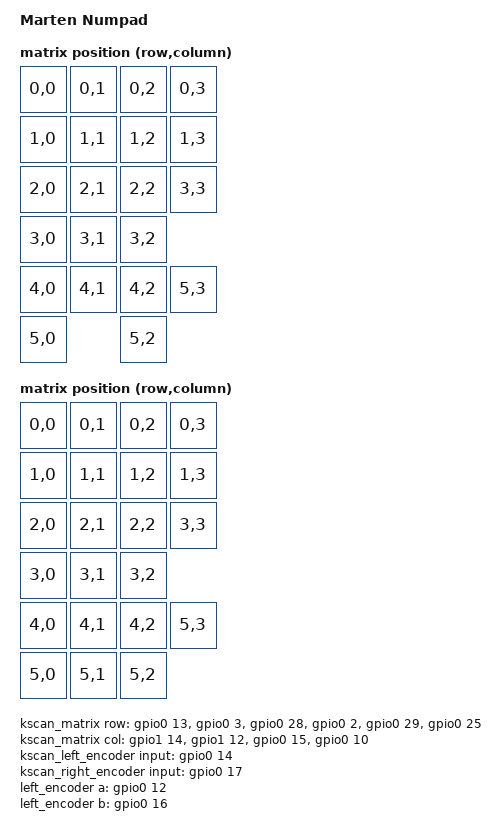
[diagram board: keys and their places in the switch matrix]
/dts-v1/;

#include <nordic/nrf52840_qiaa.dtsi>
#include <common/nordic/nrf52840_uf2_boot_mode.dtsi>
#include <layouts/common/numpad/21_key.dtsi>
#include <layouts/common/numpad/22_key_00.dtsi>
#include <dt-bindings/zmk/hid_indicators.h>
#include <dt-bindings/zmk/matrix_transform.h>

#include "marten_numpad-pinctrl.dtsi"

&layout_numpad_21_key {
    kscan = <&kscan>;
    transform = <&transform_numpad_21>;
};

&layout_numpad_22_key_00 {
    kscan = <&kscan>;
    transform = <&transform_numpad_22>;
};

/ {
    model = "Marten Numpad";
    compatible = "marten_numpad";

    chosen {
        zephyr,code-partition = &code_partition;
        zephyr,sram = &sram0;
        zephyr,flash = &flash0;
        zmk,battery = &npm1300_fuel_gauge;
        // zmk,battery = &vbatt;
        zmk,charger = &npm1300_charger_wrapper;
        zmk,physical-layout = &layout_numpad_21_key;
    };

    leds {
        compatible = "gpio-leds";

        numlock_led: numlock_led {
            gpios = <&gpio0 31 GPIO_ACTIVE_HIGH>;
        };
    };

    pwm_leds {
        compatible = "pwm-leds";

        status_led: status_led {
            pwms = <&pwm0 0 PWM_USEC(20) PWM_POLARITY_NORMAL>;
        };

        // Numlock LED can be switched to PWM with the following, but that results
        // in ~400 uA extra power drain, even when just using 100% brightness.
        // numlock_led: numlock_led {
        //     pwms = <&pwm0 1 PWM_MSEC(20) PWM_POLARITY_NORMAL>;
        // };
        // Also need to add "NRF_PSEL(PWM_OUT1, 0, 31)" to &pwm0_default and &pwm0_sleep.
    };

    indicators {
        compatible = "zmk,indicator-leds";

        numlock_indicator: numlock {
            leds = <&numlock_led>;
            indicator = <HID_INDICATOR_NUM_LOCK>;

            // Num lock will mostly be on, so to save battery life, only light
            // the LED when it is *off*.
            active-brightness = <0>;
            inactive-brightness = <100>;
        };
    };

    kscan: kscan {
        compatible = "zmk,kscan-composite";
        rows = <6>;
        columns = <4>;

        matrix {
            kscan = <&kscan_matrix>;
        };

        left_encoder {
            kscan = <&kscan_left_encoder>;
            // Overlay onto the top-left matrix position
            row-offset = <0>;
            col-offset = <0>;
        };

        right_encoder {
            kscan = <&kscan_right_encoder>;
            // Overlay onto the top-right matrix position
            row-offset = <0>;
            col-offset = <4>;
        };
    };

    kscan_matrix: kscan_matrix {
        compatible = "zmk,kscan-gpio-matrix";
        diode-direction = "col2row";
        wakeup-source;

        col-gpios
        = <&gpio1 14 GPIO_ACTIVE_HIGH>
        , <&gpio1 12 GPIO_ACTIVE_HIGH>
        , <&gpio0 15 GPIO_ACTIVE_HIGH>
        , <&gpio0 10 GPIO_ACTIVE_HIGH>
        ;

        row-gpios
        = <&gpio0 13 (GPIO_ACTIVE_HIGH | GPIO_PULL_DOWN)>
        , <&gpio0 3 (GPIO_ACTIVE_HIGH | GPIO_PULL_DOWN)>
        , <&gpio0 28 (GPIO_ACTIVE_HIGH | GPIO_PULL_DOWN)>
        , <&gpio0 2 (GPIO_ACTIVE_HIGH | GPIO_PULL_DOWN)>
        , <&gpio0 29 (GPIO_ACTIVE_HIGH | GPIO_PULL_DOWN)>
        , <&gpio0 25 (GPIO_ACTIVE_HIGH | GPIO_PULL_DOWN)>
        ;
    };

    kscan_left_encoder: kscan_left_encoder {
        compatible = "zmk,kscan-gpio-direct";
        wakeup-source;

        input-gpios = <&gpio0 14 (GPIO_ACTIVE_LOW | GPIO_PULL_UP)>;
    };

    kscan_right_encoder: kscan_right_encoder {
        compatible = "zmk,kscan-gpio-direct";
        wakeup-source;

        input-gpios = <&gpio0 17 (GPIO_ACTIVE_LOW | GPIO_PULL_UP)>;
    };

    transform_numpad_21: transform_numpad_21 {
        compatible = "zmk,matrix-transform";
        columns = <4>;
        rows = <6>;
        map = <
        RC(0,0) RC(0,1) RC(0,2) RC(0,3)
        RC(1,0) RC(1,1) RC(1,2) RC(1,3)
        RC(2,0) RC(2,1) RC(2,2) RC(3,3)
        RC(3,0) RC(3,1) RC(3,2)
        RC(4,0) RC(4,1) RC(4,2) RC(5,3)
        RC(5,0)         RC(5,2)
        >;
    };

    transform_numpad_22: transform_numpad_22 {
        compatible = "zmk,matrix-transform";
        columns = <4>;
        rows = <6>;
        map = <
        RC(0,0) RC(0,1) RC(0,2) RC(0,3)
        RC(1,0) RC(1,1) RC(1,2) RC(1,3)
        RC(2,0) RC(2,1) RC(2,2) RC(3,3)
        RC(3,0) RC(3,1) RC(3,2)
        RC(4,0) RC(4,1) RC(4,2) RC(5,3)
        RC(5,0) RC(5,1) RC(5,2)
        >;
    };

    // TODO: use the NRF QDEC driver for one of these? If so, which one?
    left_encoder: left_encoder {
        compatible = "alps,ec11";
        status = "disabled";
        a-gpios = <&gpio0 12 (GPIO_ACTIVE_HIGH | GPIO_PULL_UP)>;
        b-gpios = <&gpio0 16 (GPIO_ACTIVE_HIGH | GPIO_PULL_UP)>;
        steps = <60>;
    };

    right_encoder: right_encoder {
        compatible = "alps,ec11";
        status = "disabled";
        a-gpios = <&gpio0 21 (GPIO_ACTIVE_HIGH | GPIO_PULL_UP)>;
        b-gpios = <&gpio0 19 (GPIO_ACTIVE_HIGH | GPIO_PULL_UP)>;
        steps = <60>;
    };

    // TODO: disable this and use npm1300 fuel gauge instead
    vbatt: vbatt {
        compatible = "zmk,battery-nrf-vddh";
    };
};

// Enable DC-DC converter on high voltage regulator
&reg0 {
    status = "okay";
};

// Enable DC-DC converter on internal regulator
&reg1 {
    regulator-initial-mode = <NRF5X_REG_MODE_DCDC>;
};

&adc {
    status = "okay";
};

&gpiote {
    status = "okay";
};

&gpio0 {
    status = "okay";
};

&gpio1 {
    status = "okay";
};

&uicr {
    nfct-pins-as-gpios;
};

&pwm0 {
    status = "okay";
    pinctrl-0 = <&pwm0_default>;
    pinctrl-1 = <&pwm0_sleep>;
    pinctrl-names = "default", "sleep";
};

&i2c0 {
    compatible = "nordic,nrf-twi";
    status = "okay";

    pinctrl-0 = <&i2c0_default>;
    pinctrl-1 = <&i2c0_sleep>;
    pinctrl-names = "default", "sleep";

    npm1300_pmic: pmic@6b {
        compatible = "nordic,npm1300";
        reg = <0x6b>;

        host-int-gpios = <&gpio0 30 0>;
        pmic-int-pin = <1>;
        long-press-reset = "one-button";
        ship-to-active-time-ms = <96>;

        npm1300_regulators: regulators {
            compatible = "nordic,npm1300-regulator";

            main_regulator: BUCK2 {
                regulator-init-microvolt = <3300000>;
                regulator-min-microvolt = <3300000>;
                regulator-max-microvolt = <3300000>;
                regulator-always-on;
            };
        };

        npm1300_charger: charger {
            compatible = "nordic,npm1300-charger";
            charging-enable;

            term-microvolt = <4150000>;
            term-warm-microvolt = <4000000>;
            current-microamp = <250000>;
            dischg-limit-microamp = <200000>;
            vbus-limit-microamp = <500000>;

            // No thermistor
            thermistor-ohms = <0>;
            thermistor-beta = <3380>;
        };

        npm1300_leds: leds {
            compatible = "nordic,npm1300-led";
            nordic,led0-mode = "charging";
            nordic,led1-mode = "host";
            nordic,led2-mode = "host";
        };

        npm1300_charger_wrapper: charger_wrapper {
            compatible = "nordic,npm1300-charger-new-api";

            charger = <&npm1300_charger>;
        };

        npm1300_fuel_gauge: fuel_gauge {
            compatible = "nordic,npm1300-fuel-gauge";

            charger = <&npm1300_charger>;
        };
    };
};

marten_i2c: &i2c1 {
    compatible = "nordic,nrf-twim";
    status = "disabled";

    pinctrl-0 = <&i2c1_default>;
    pinctrl-1 = <&i2c1_sleep>;
    pinctrl-names = "default", "sleep";
};

marten_spi: &spi1 {
    compatible = "nordic,nrf-spim";
    status = "disabled";

    pinctrl-0 = <&spi1_default>;
    pinctrl-1 = <&spi1_sleep>;
    pinctrl-names = "default", "sleep";
    cs-gpios = <&gpio1 8 GPIO_ACTIVE_HIGH>;
};

zephyr_udc0: &usbd {
    status = "okay";
};

&flash0 {
    partitions {
        compatible = "fixed-partitions";
        #address-cells = <1>;
        #size-cells = <1>;

        code_partition: partition@1000 {
            reg = <DT_SIZE_K(4) DT_SIZE_K(844)>;
        };

        // The flash starting at 0x000d4000 and ending at
        // 0x000f3fff is reserved for use by the application.

        storage_partition: partition@d4000 {
            reg = <DT_SIZE_K(848) DT_SIZE_K(128)>;
        };

        boot_partition: partition@f4000 {
            reg = <DT_SIZE_K(976) DT_SIZE_K(48)>;
        };
    };
};
